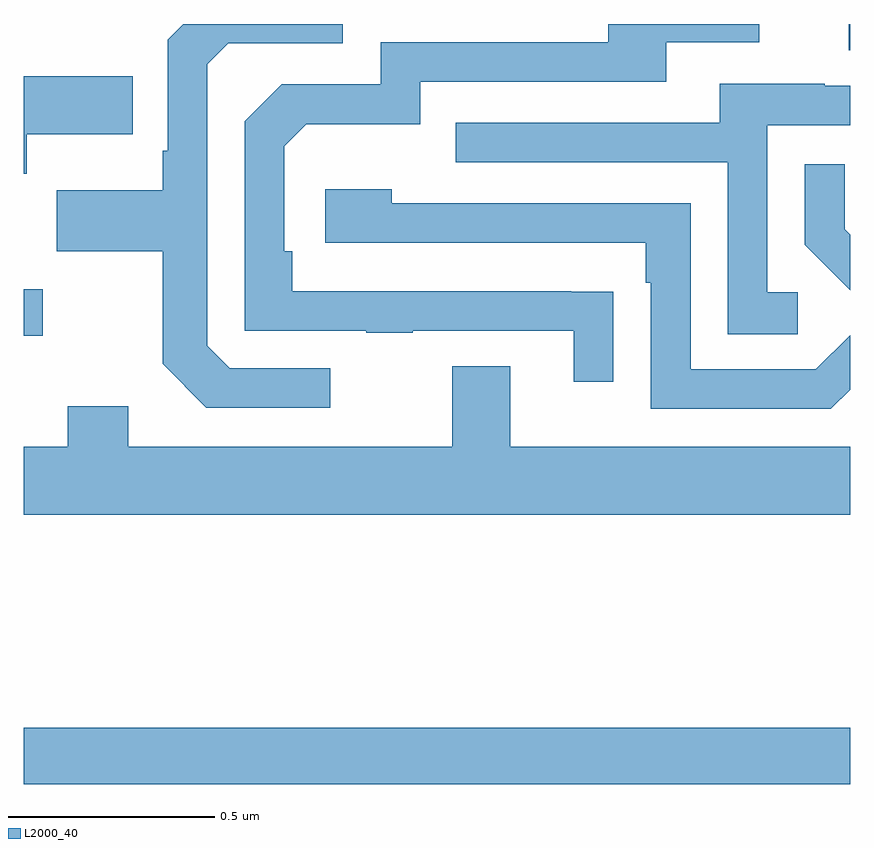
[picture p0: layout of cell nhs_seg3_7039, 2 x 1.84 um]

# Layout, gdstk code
import gdstk
lib = gdstk.Library(unit=1e-6, precision=1e-09)
def R(c, l, rs):  # rectangles x0, y0, x1, y1
    for r in rs: c.add(gdstk.rectangle(r[:2], r[2:], *l))
def P(c, l, *ps):  # polygons
    for p in ps: c.add(gdstk.Polygon(p, *l))
L2000_40 = (2000, 40)

nhs_seg3_7039 = lib.new_cell('nhs_seg3_7039')
R(nhs_seg3_7039, L2000_40, [(198,737.56,200,737.696), (198,738.645,198.046,738.758), (199.997,739.336,200,739.4)])
P(nhs_seg3_7039, L2000_40, [(199.427,738.752),(199.325,738.752),(199.325,738.753),(198.65,738.753),(198.65,738.85),(198.63,738.85),(198.63,739.104),(198.683,739.157),(198.96,739.157),(198.96,739.26),(199.555,739.26),(199.555,739.356),(199.78,739.356),(199.78,739.4),(199.415,739.4),(199.415,739.356),(198.864,739.356),(198.864,739.254),(198.624,739.254),(198.534,739.164),(198.534,738.657),(198.829,738.657),(198.829,738.652),(198.941,738.652),(198.941,738.657),(199.331,738.657),(199.331,738.534),(199.427,738.534)],
  [(198.742,738.567),(198.498,738.567),(198.444,738.621),(198.444,739.302),(198.495,739.353),(198.772,739.353),(198.772,739.4),(198.386,739.4),(198.348,739.362),(198.348,739.093),(198.336,739.093),(198.336,738.997),(198.079,738.997),(198.079,738.85),(198.336,738.85),(198.336,738.577),(198.441,738.471),(198.742,738.471)],
  [(198.007,739.133),(198.263,739.133),(198.263,739.273),(198,739.273),(198,739.037),(198.007,739.037)],
  [(199.873,738.75),(199.8,738.75),(199.8,739.155),(200,739.155),(200,739.251),(199.939,739.251),(199.939,739.255),(199.685,739.255),(199.685,739.161),(199.045,739.161),(199.045,739.065),(199.704,739.065),(199.704,738.649),(199.873,738.649)],
  [(200,738.89),(199.987,738.903),(199.987,739.06),(199.89,739.06),(199.89,738.866),(200,738.756)],
  [(200,738.515),(200,738.647),(199.917,738.564),(199.614,738.564),(199.614,738.966),(198.89,738.966),(198.89,739),(198.729,739),(198.729,738.87),(199.505,738.87),(199.505,738.773),(199.518,738.773),(199.518,738.468),(199.953,738.468)],
  [(200,738.376),(199.177,738.376),(199.177,738.571),(199.037,738.571),(199.037,738.376),(198.253,738.376),(198.253,738.475),(198.106,738.475),(198.106,738.376),(198,738.376),(198,738.212),(200,738.212)])

lib.write_gds('nhs_seg3_7039.gds')
